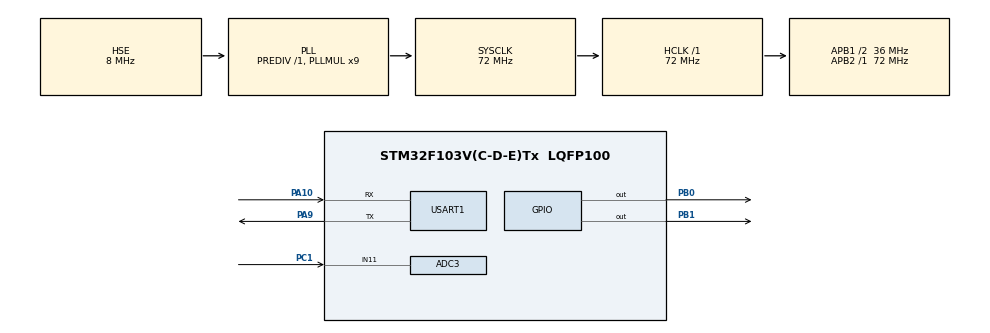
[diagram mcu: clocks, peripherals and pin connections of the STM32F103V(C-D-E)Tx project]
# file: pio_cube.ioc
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ADC3.Channel-0\#ChannelRegularConversion=ADC_CHANNEL_11
ADC3.NbrOfConversionFlag=1
ADC3.Rank-0\#ChannelRegularConversion=1
ADC3.SamplingTime-0\#ChannelRegularConversion=ADC_SAMPLETIME_1CYCLE_5
FREERTOS.Tasks01=defaultTask,0,128,StartDefaultTask,Default,NULL,Dynamic,NULL,NULL
Mcu.Family=STM32F1
Mcu.Name=STM32F103V(C-D-E)Tx
Mcu.Package=LQFP100
NVIC.ADC3_IRQn=true\:5\:0\:false\:false\:true\:true\:true\:true\:true
NVIC.PriorityGroup=NVIC_PRIORITYGROUP_4
NVIC.TIM4_IRQn=true\:15\:0\:false\:false\:true\:false\:false\:true\:true
NVIC.TimeBase=TIM4_IRQn
NVIC.TimeBaseIP=TIM4
NVIC.USART1_IRQn=true\:5\:0\:false\:false\:true\:true\:true\:true\:true
OSC_IN.Mode=HSE-External-Oscillator
OSC_IN.Signal=RCC_OSC_IN
OSC_OUT.Mode=HSE-External-Oscillator
OSC_OUT.Signal=RCC_OSC_OUT
PA10.Mode=Asynchronous
PA10.Signal=USART1_RX
PA13.Mode=Serial_Wire
PA13.Signal=SYS_JTMS-SWDIO
PA14.Mode=Serial_Wire
PA14.Signal=SYS_JTCK-SWCLK
PA9.Mode=Asynchronous
PA9.Signal=USART1_TX
PB0.GPIO_PuPd=GPIO_PULLDOWN
PB0.GPIO_Speed=GPIO_SPEED_FREQ_HIGH
PB0.PinState=GPIO_PIN_SET
PB0.Signal=GPIO_Output
PB1.GPIO_PuPd=GPIO_PULLDOWN
PB1.GPIO_Speed=GPIO_SPEED_FREQ_HIGH
PB1.PinState=GPIO_PIN_SET
PB1.Signal=GPIO_Output
PC1.Signal=ADCx_IN11
PC14-OSC32_IN.Mode=LSE-External-Oscillator
PC14-OSC32_IN.Signal=RCC_OSC32_IN
PC15-OSC32_OUT.Mode=LSE-External-Oscillator
PC15-OSC32_OUT.Signal=RCC_OSC32_OUT
ProjectManager.HeapSize=0x200
ProjectManager.StackSize=0x400
ProjectManager.TargetToolchain=Makefile
RCC.ADCPresc=RCC_ADCPCLK2_DIV6
RCC.AHBFreq_Value=72000000
RCC.APB1CLKDivider=RCC_HCLK_DIV2
RCC.APB1Freq_Value=36000000
RCC.APB1TimFreq_Value=72000000
RCC.APB2Freq_Value=72000000
RCC.APB2TimFreq_Value=72000000
RCC.HCLKFreq_Value=72000000
RCC.PLLMUL=RCC_PLL_MUL9
RCC.PLLSourceVirtual=RCC_PLLSOURCE_HSE
RCC.SYSCLKFreq_VALUE=72000000
RCC.SYSCLKSource=RCC_SYSCLKSOURCE_PLLCLK
RCC.USBFreq_Value=72000000
SH.ADCx_IN11.0=ADC3_IN11,IN11
USART1.VirtualMode=VM_ASYNC
VP_FREERTOS_VS_CMSIS_V1.Mode=CMSIS_V1
VP_SYS_VS_tim4.Mode=TIM4
board=custom

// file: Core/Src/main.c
/* USER CODE BEGIN Header */
/**
 ******************************************************************************
 * @file           : main.c
 * @brief          : Main program body
 ******************************************************************************
 * @attention
 *
 * Copyright (c) 2022 STMicroelectronics.
 * All rights reserved.
 *
 * This software is licensed under terms that can be found in the LICENSE file
 * in the root directory of this software component.
 * If no LICENSE file comes with this software, it is provided AS-IS.
 *
 ******************************************************************************
 */
/* USER CODE END Header */
#include "main.h"
#include "cmsis_os.h"
#include "adc.h"
#include "usart.h"
#include "gpio.h"

void SystemClock_Config(void);
void MX_FREERTOS_Init(void);

int main(void)
{

  /* MCU Configuration--------------------------------------------------------*/

  /* Reset of all peripherals, Initializes the Flash interface and the Systick. */
  HAL_Init();

  /* USER CODE BEGIN Init */
  NVIC_SetPriorityGrouping(NVIC_PRIORITYGROUP_2);
  /* USER CODE END Init */

  /* Configure the system clock */
  SystemClock_Config();

  /* Initialize all configured peripherals */
  MX_GPIO_Init();
  MX_USART1_UART_Init();
  MX_ADC3_Init();

  /* Call init function for freertos objects (in freertos.c) */
  MX_FREERTOS_Init();

  /* Start scheduler */
  osKernelStart();

  /* We should never get here as control is now taken by the scheduler */
  /* Infinite loop */
  while (1)
  {

  }
}

void SystemClock_Config(void)
{
  RCC_OscInitTypeDef RCC_OscInitStruct = {0};
  RCC_ClkInitTypeDef RCC_ClkInitStruct = {0};
  RCC_PeriphCLKInitTypeDef PeriphClkInit = {0};

  /** Initializes the RCC Oscillators according to the specified parameters
  * in the RCC_OscInitTypeDef structure.
  */
  RCC_OscInitStruct.OscillatorType = RCC_OSCILLATORTYPE_HSE;
  RCC_OscInitStruct.HSEState = RCC_HSE_ON;
  RCC_OscInitStruct.HSEPredivValue = RCC_HSE_PREDIV_DIV1;
  RCC_OscInitStruct.HSIState = RCC_HSI_ON;
  RCC_OscInitStruct.PLL.PLLState = RCC_PLL_ON;
  RCC_OscInitStruct.PLL.PLLSource = RCC_PLLSOURCE_HSE;
  RCC_OscInitStruct.PLL.PLLMUL = RCC_PLL_MUL9;
  if (HAL_RCC_OscConfig(&RCC_OscInitStruct) != HAL_OK)
  {
    Error_Handler();
  }

  /** Initializes the CPU, AHB and APB buses clocks
  */
  RCC_ClkInitStruct.ClockType = RCC_CLOCKTYPE_HCLK|RCC_CLOCKTYPE_SYSCLK
                              |RCC_CLOCKTYPE_PCLK1|RCC_CLOCKTYPE_PCLK2;
  RCC_ClkInitStruct.SYSCLKSource = RCC_SYSCLKSOURCE_PLLCLK;
  RCC_ClkInitStruct.AHBCLKDivider = RCC_SYSCLK_DIV1;
  RCC_ClkInitStruct.APB1CLKDivider = RCC_HCLK_DIV2;
  RCC_ClkInitStruct.APB2CLKDivider = RCC_HCLK_DIV1;

  if (HAL_RCC_ClockConfig(&RCC_ClkInitStruct, FLASH_LATENCY_2) != HAL_OK)
  {
    Error_Handler();
  }
  PeriphClkInit.PeriphClockSelection = RCC_PERIPHCLK_ADC;
  PeriphClkInit.AdcClockSelection = RCC_ADCPCLK2_DIV6;
  if (HAL_RCCEx_PeriphCLKConfig(&PeriphClkInit) != HAL_OK)
  {
    Error_Handler();
  }
}

void HAL_TIM_PeriodElapsedCallback(TIM_HandleTypeDef *htim)
{
  if (htim->Instance == TIM4) {
    HAL_IncTick();
  }
}

void Error_Handler(void)
{
  __disable_irq();
  while (1)
  {
  }
}

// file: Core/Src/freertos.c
/* USER CODE BEGIN Header */
/**
 ******************************************************************************
 * File Name          : freertos.c
 * Description        : Code for freertos applications
 ******************************************************************************
 * @attention
 *
 * Copyright (c) 2022 STMicroelectronics.
 * All rights reserved.
 *
 * This software is licensed under terms that can be found in the LICENSE file
 * in the root directory of this software component.
 * If no LICENSE file comes with this software, it is provided AS-IS.
 *
 ******************************************************************************
 */
/* USER CODE END Header */

#include "FreeRTOS.h"
#include "task.h"
#include "main.h"
#include "cmsis_os.h"

osThreadId defaultTaskHandle;

void StartDefaultTask(void const * argument);

void MX_FREERTOS_Init(void); /* (MISRA C 2004 rule 8.1) */

/* GetIdleTaskMemory prototype (linked to static allocation support) */
void vApplicationGetIdleTaskMemory( StaticTask_t **ppxIdleTaskTCBBuffer, StackType_t **ppxIdleTaskStackBuffer, uint32_t *pulIdleTaskStackSize );

/* USER CODE BEGIN GET_IDLE_TASK_MEMORY */
static StaticTask_t xIdleTaskTCBBuffer;
static StackType_t xIdleStack[configMINIMAL_STACK_SIZE];

void vApplicationGetIdleTaskMemory(StaticTask_t **ppxIdleTaskTCBBuffer, StackType_t **ppxIdleTaskStackBuffer, uint32_t *pulIdleTaskStackSize)
{
  *ppxIdleTaskTCBBuffer = &xIdleTaskTCBBuffer;
  *ppxIdleTaskStackBuffer = &xIdleStack[0];
  *pulIdleTaskStackSize = configMINIMAL_STACK_SIZE;
  /* place for user code */
}
/* USER CODE END GET_IDLE_TASK_MEMORY */

void MX_FREERTOS_Init(void) {
  /* USER CODE BEGIN Init */
  // BaseType_t xReturn = pdPASS;
  /* USER CODE END Init */

  /* Create the thread(s) */
  /* definition and creation of defaultTask */
  osThreadDef(defaultTask, StartDefaultTask, osPriorityNormal, 0, 128);
  defaultTaskHandle = osThreadCreate(osThread(defaultTask), NULL);

  /* USER CODE BEGIN RTOS_THREADS */
  xReturn = xTaskCreate((TaskFunction_t)StartTask1,
                        (const char *const)"Task1",
                        (const uint16_t)configMINIMAL_STACK_SIZE,
                        (void *const)NULL,
                        (UBaseType_t)1,
                        (TaskHandle_t *const)&Task1Handle);
  if (xReturn != pdPASS)
  {
    /* Error */
    printf("create Task1 ERROR\r\n");
  }
  /* USER CODE END RTOS_THREADS */

}

void StartDefaultTask(void const * argument)
{
  /* USER CODE BEGIN StartDefaultTask */
  /* Infinite loop */
  for (;;)
  {
    HAL_GPIO_TogglePin(GPIOB, GPIO_PIN_0);
    printf("led0\r\n");
    osDelay(1000);
  }
  /* USER CODE END StartDefaultTask */
}

/* USER CODE BEGIN Application */
void StartTask1(void const *argument)
{
  /* USER CODE BEGIN StartTask1 */
  /* Infinite loop */
  for (;;)
  {
    HAL_GPIO_TogglePin(GPIOB, GPIO_PIN_1);
    printf("led1\r\n");
    osDelay(500);
  }
  /* USER CODE END StartTask1 */
}
/* USER CODE END Application */
